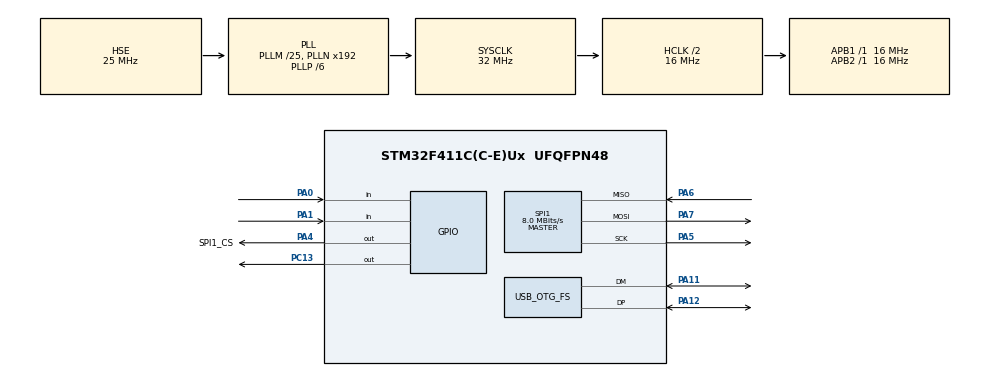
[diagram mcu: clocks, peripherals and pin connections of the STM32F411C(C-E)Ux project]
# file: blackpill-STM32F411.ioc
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FREERTOS.Tasks01=buttonTask,24,128,ButtonTask,Default,NULL,Dynamic,NULL,NULL;ledTask,24,128,LedTask,Default,NULL,Dynamic,NULL,NULL;usbTask,16,128,USBTask,Default,NULL,Dynamic,NULL,NULL;spiTask,24,128,SpiStartTask,Default,NULL,Dynamic,NULL,NULL
Mcu.Family=STM32F4
Mcu.Name=STM32F411C(C-E)Ux
Mcu.Package=UFQFPN48
NVIC.OTG_FS_IRQn=true\:5\:0\:false\:false\:true\:true\:false\:true
NVIC.PriorityGroup=NVIC_PRIORITYGROUP_4
NVIC.TIM1_UP_TIM10_IRQn=true\:0\:0\:false\:false\:true\:false\:false\:true
NVIC.TimeBase=TIM1_UP_TIM10_IRQn
NVIC.TimeBaseIP=TIM1
PA0-WKUP.GPIO_PuPd=GPIO_PULLUP
PA0-WKUP.Signal=GPIO_Input
PA1.GPIO_PuPd=GPIO_PULLDOWN
PA1.Signal=GPIO_Input
PA11.Mode=Device_Only
PA11.Signal=USB_OTG_FS_DM
PA12.Mode=Device_Only
PA12.Signal=USB_OTG_FS_DP
PA13.Mode=Serial_Wire
PA13.Signal=SYS_JTMS-SWDIO
PA14.Mode=Serial_Wire
PA14.Signal=SYS_JTCK-SWCLK
PA4.GPIO_Label=SPI1_CS
PA4.Signal=GPIO_Output
PA5.Mode=Full_Duplex_Master
PA5.Signal=SPI1_SCK
PA6.Mode=Full_Duplex_Master
PA6.Signal=SPI1_MISO
PA7.Mode=Full_Duplex_Master
PA7.Signal=SPI1_MOSI
PC13-ANTI_TAMP.GPIO_PuPd=GPIO_PULLUP
PC13-ANTI_TAMP.Signal=GPIO_Output
PC14-OSC32_IN.Mode=LSE-External-Oscillator
PC14-OSC32_IN.Signal=RCC_OSC32_IN
PC15-OSC32_OUT.Mode=LSE-External-Oscillator
PC15-OSC32_OUT.Signal=RCC_OSC32_OUT
PH0\ -\ OSC_IN.Mode=HSE-External-Oscillator
PH0\ -\ OSC_IN.Signal=RCC_OSC_IN
PH1\ -\ OSC_OUT.Mode=HSE-External-Oscillator
PH1\ -\ OSC_OUT.Signal=RCC_OSC_OUT
ProjectManager.HeapSize=0x200
ProjectManager.StackSize=0x400
ProjectManager.TargetToolchain=STM32CubeIDE
RCC.48MHZClocksFreq_Value=48000000
RCC.AHBCLKDivider=RCC_SYSCLK_DIV2
RCC.AHBFreq_Value=16000000
RCC.APB1Freq_Value=16000000
RCC.APB1TimFreq_Value=16000000
RCC.APB2Freq_Value=16000000
RCC.APB2TimFreq_Value=16000000
RCC.CortexFreq_Value=16000000
RCC.HCLKFreq_Value=16000000
RCC.HSE_VALUE=25000000
RCC.HSI_VALUE=16000000
RCC.PLLM=25
RCC.PLLP=RCC_PLLP_DIV6
RCC.SYSCLKFreq_VALUE=32000000
RCC.SYSCLKSource=RCC_SYSCLKSOURCE_PLLCLK
RCC.VCOOutputFreq_Value=192000000
SPI1.CalculateBaudRate=8.0 MBits/s
SPI1.Direction=SPI_DIRECTION_2LINES
SPI1.Mode=SPI_MODE_MASTER
SPI1.VirtualType=VM_MASTER
USB_DEVICE.CLASS_NAME_FS=CDC
USB_DEVICE.USBD_MAX_STR_DESC_SIZ=512
USB_DEVICE.USBD_SELF_POWERED=1
USB_DEVICE.VirtualMode=Cdc
USB_DEVICE.VirtualModeFS=Cdc_FS
USB_OTG_FS.VirtualMode=Device_Only
VP_FREERTOS_VS_CMSIS_V2.Mode=CMSIS_V2
VP_SYS_VS_tim1.Mode=TIM1
VP_USB_DEVICE_VS_USB_DEVICE_CDC_FS.Mode=CDC_FS
board=custom

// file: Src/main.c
/* USER CODE BEGIN Header */
/**
  ******************************************************************************
  * @file           : main.c
  * @brief          : Main program body
  ******************************************************************************
  * @attention
  *
  * <h2><center>&copy; Copyright (c) 2021 STMicroelectronics.
  * All rights reserved.</center></h2>
  *
  * This software component is licensed by ST under BSD 3-Clause license,
  * the "License"; You may not use this file except in compliance with the
  * License. You may obtain a copy of the License at:
  *                        opensource.org/licenses/BSD-3-Clause
  *
  ******************************************************************************
  */
/* USER CODE END Header */
#include "main.h"
#include "cmsis_os.h"
#include "usb_device.h"

/* USER CODE BEGIN Includes */
#include "usbd_cdc_if.h"

#include "socket.h"
#include "Internet/DHCP/dhcp.h"
#include "Internet/DNS/dns.h"
#include "uMB.h"
/* USER CODE END Includes */

/* USER CODE BEGIN PD */
#define MSG_INFO_SIZE 93
#define MSG_HELP_SIZE 97

#define TCP1_SOCKET   1
/* USER CODE END PD */

/* USER CODE BEGIN PM */
uint8_t* msgINFO;
uint8_t* msgHELP;

uint32_t t_blinking, t_blinkingMem;

uint8_t bState, bStateMem;
uint8_t usbBlinkFast, usbBlinkNorm, usbBlinkSlow;

struct uMB_request request = {
    .header = HEADER_START,
    .unitID = 10,
    .fcode = READ_HOLDING_REGISTER,
    .address = 3,
    .quantity = 9,
  };

struct uMB_response response = {
    .header = HEADER_START,
    .unitID = 10
  };

uint16_t hregisters[20] = {
    0x1234, 0x1567, 0x8910, 0x0011, 0x0022,
    0x0033, 0x0000, 0x0009, 0x0008, 0x0007,
    0x0006, 0x0005, 0x0004, 0x0003, 0x0002,
    0x0001, 0x0000, 0x0099, 0x0088, 0x0077
    };

/* USER CODE END PM */

SPI_HandleTypeDef hspi1;

/* Definitions for buttonTask */
osThreadId_t buttonTaskHandle;
const osThreadAttr_t buttonTask_attributes = {
  .name = "buttonTask",
  .priority = (osPriority_t) osPriorityNormal,
  .stack_size = 128 * 4
};
/* Definitions for ledTask */
osThreadId_t ledTaskHandle;
const osThreadAttr_t ledTask_attributes = {
  .name = "ledTask",
  .priority = (osPriority_t) osPriorityNormal,
  .stack_size = 128 * 4
};
/* Definitions for usbTask */
osThreadId_t usbTaskHandle;
const osThreadAttr_t usbTask_attributes = {
  .name = "usbTask",
  .priority = (osPriority_t) osPriorityBelowNormal,
  .stack_size = 128 * 4
};
/* Definitions for spiTask */
osThreadId_t spiTaskHandle;
const osThreadAttr_t spiTask_attributes = {
  .name = "spiTask",
  .priority = (osPriority_t) osPriorityNormal,
  .stack_size = 128 * 4
};
/* USER CODE BEGIN PV */
uint8_t DataToSend[512];    // Data to send
uint8_t RcvData[512];    // Data received
uint8_t MessageCounter = 0;    // Sent messages counter
int32_t MessageLength = 0;    // Length of the message

uint8_t ReceivedDataBuffer[512];    // Received data buffer
uint8_t ReceivedDataFlag = 0;    // Data received - flag
uint8_t tcp_sequence = 0;
/* USER CODE END PV */

void SystemClock_Config(void);
static void MX_GPIO_Init(void);
static void MX_SPI1_Init(void);
void ButtonTask(void *argument);
void LedTask(void *argument);
void USBTask(void *argument);
void SpiStartTask(void *argument);

/* USER CODE BEGIN PFP */
void W5500_Select(void);
void W5500_Unselect(void);
void W5500_ReadBuff(uint8_t* buff, uint16_t len);
void W5500_WriteBuff(uint8_t* buff, uint16_t len);
uint8_t W5500_ReadByte(void);
void W5500_WriteByte(uint8_t byte);
void initW5500(void);

/* USER CODE END PFP */

/* USER CODE BEGIN 0 */
void W5500_Select(void) {
    HAL_GPIO_WritePin(SPI1_CS_GPIO_Port, SPI1_CS_Pin, GPIO_PIN_RESET);
}

void W5500_Unselect(void) {
	HAL_GPIO_WritePin(SPI1_CS_GPIO_Port, SPI1_CS_Pin, GPIO_PIN_SET);
}

void W5500_ReadBuff(uint8_t* buff, uint16_t len) {
    HAL_SPI_Receive(&hspi1, buff, len, HAL_MAX_DELAY);
}

void W5500_WriteBuff(uint8_t* buff, uint16_t len) {
    HAL_SPI_Transmit(&hspi1, buff, len, HAL_MAX_DELAY);
}

uint8_t W5500_ReadByte(void) {
    uint8_t byte;
    W5500_ReadBuff(&byte, sizeof(byte));
    return byte;
}

void W5500_WriteByte(uint8_t byte) {
    W5500_WriteBuff(&byte, sizeof(byte));
}

volatile _Bool ip_assigned = 1;

void initW5500(void) {

		uint8_t rx_tx_buff_sizes[] = {2, 2, 2, 2, 2, 2, 2, 2};

	    wiz_NetInfo net_info = {
	        .mac  = { 0xEA, 0x11, 0x22, 0x33, 0x44, 0xEA },
			.ip = { 192, 168, 0, 10 },
			.gw = { 192, 168, 0, 1 },
			.sn = { 255, 255, 255, 0},
	        .dhcp = NETINFO_STATIC
	    };

	    wiz_NetTimeout s_nettime =
	    {
	       	.time_100us = 200,
	    	.retry_cnt = 3
	    };

	    wizchip_init(rx_tx_buff_sizes, rx_tx_buff_sizes);

	    reg_wizchip_cs_cbfunc(W5500_Select, W5500_Unselect);
	    reg_wizchip_spi_cbfunc(W5500_ReadByte, W5500_WriteByte);
	    reg_wizchip_spiburst_cbfunc(W5500_ReadBuff, W5500_WriteBuff);

	    wizchip_setnetinfo(&net_info);

	    /* Set the timeout and the maximum number of re-transmit */
	    wizchip_settimeout(&s_nettime);

}

/* USER CODE END 0 */

int main(void)
{
  /* USER CODE BEGIN 1 */
	msgINFO = (uint8_t*)"#############################\n\r# STM32F411CEU6 Blackpill   #\n\r#############################\n\r";
	msgHELP = (uint8_t*)"For led blinking control type:\n\r blink fast,\n\r blink normal,\n\r blink slow\n\nFor MCU type: info\n\r\n\r";

	t_blinkingMem = 500;
  /* USER CODE END 1 */

  /* MCU Configuration--------------------------------------------------------*/

  /* Reset of all peripherals, Initializes the Flash interface and the Systick. */
  HAL_Init();

  /* Configure the system clock */
  SystemClock_Config();

  /* Initialize all configured peripherals */
  MX_GPIO_Init();
  MX_SPI1_Init();

  /* Init scheduler */
  osKernelInitialize();

  /* Create the thread(s) */
  /* creation of buttonTask */
  buttonTaskHandle = osThreadNew(ButtonTask, NULL, &buttonTask_attributes);

  /* creation of ledTask */
  ledTaskHandle = osThreadNew(LedTask, NULL, &ledTask_attributes);

  /* creation of usbTask */
  usbTaskHandle = osThreadNew(USBTask, NULL, &usbTask_attributes);

  /* creation of spiTask */
  spiTaskHandle = osThreadNew(SpiStartTask, NULL, &spiTask_attributes);

  /* Start scheduler */
  osKernelStart();

  /* We should never get here as control is now taken by the scheduler */
  /* Infinite loop */
  /* USER CODE BEGIN WHILE */
  bState = 0;
  bStateMem = 0;
  usbBlinkFast = 0;
  usbBlinkNorm = 0;
  usbBlinkSlow = 0;
  t_blinking = 500;

  while (1)
  {
    /* USER CODE END WHILE */

  }
}

void SystemClock_Config(void)
{
  RCC_OscInitTypeDef RCC_OscInitStruct = {0};
  RCC_ClkInitTypeDef RCC_ClkInitStruct = {0};

  /** Configure the main internal regulator output voltage
  */
  __HAL_RCC_PWR_CLK_ENABLE();
  __HAL_PWR_VOLTAGESCALING_CONFIG(PWR_REGULATOR_VOLTAGE_SCALE1);
  /** Initializes the RCC Oscillators according to the specified parameters
  * in the RCC_OscInitTypeDef structure.
  */
  RCC_OscInitStruct.OscillatorType = RCC_OSCILLATORTYPE_HSE;
  RCC_OscInitStruct.HSEState = RCC_HSE_ON;
  RCC_OscInitStruct.PLL.PLLState = RCC_PLL_ON;
  RCC_OscInitStruct.PLL.PLLSource = RCC_PLLSOURCE_HSE;
  RCC_OscInitStruct.PLL.PLLM = 25;
  RCC_OscInitStruct.PLL.PLLN = 192;
  RCC_OscInitStruct.PLL.PLLP = RCC_PLLP_DIV6;
  RCC_OscInitStruct.PLL.PLLQ = 4;
  if (HAL_RCC_OscConfig(&RCC_OscInitStruct) != HAL_OK)
  {
    Error_Handler();
  }
  /** Initializes the CPU, AHB and APB buses clocks
  */
  RCC_ClkInitStruct.ClockType = RCC_CLOCKTYPE_HCLK|RCC_CLOCKTYPE_SYSCLK
                              |RCC_CLOCKTYPE_PCLK1|RCC_CLOCKTYPE_PCLK2;
  RCC_ClkInitStruct.SYSCLKSource = RCC_SYSCLKSOURCE_PLLCLK;
  RCC_ClkInitStruct.AHBCLKDivider = RCC_SYSCLK_DIV2;
  RCC_ClkInitStruct.APB1CLKDivider = RCC_HCLK_DIV1;
  RCC_ClkInitStruct.APB2CLKDivider = RCC_HCLK_DIV1;

  if (HAL_RCC_ClockConfig(&RCC_ClkInitStruct, FLASH_LATENCY_0) != HAL_OK)
  {
    Error_Handler();
  }
}

static void MX_SPI1_Init(void)
{

  /* SPI1 parameter configuration*/
  hspi1.Instance = SPI1;
  hspi1.Init.Mode = SPI_MODE_MASTER;
  hspi1.Init.Direction = SPI_DIRECTION_2LINES;
  hspi1.Init.DataSize = SPI_DATASIZE_8BIT;
  hspi1.Init.CLKPolarity = SPI_POLARITY_LOW;
  hspi1.Init.CLKPhase = SPI_PHASE_1EDGE;
  hspi1.Init.NSS = SPI_NSS_SOFT;
  hspi1.Init.BaudRatePrescaler = SPI_BAUDRATEPRESCALER_2;
  hspi1.Init.FirstBit = SPI_FIRSTBIT_MSB;
  hspi1.Init.TIMode = SPI_TIMODE_DISABLE;
  hspi1.Init.CRCCalculation = SPI_CRCCALCULATION_DISABLE;
  hspi1.Init.CRCPolynomial = 10;
  if (HAL_SPI_Init(&hspi1) != HAL_OK)
  {
    Error_Handler();
  }

}

static void MX_GPIO_Init(void)
{
  GPIO_InitTypeDef GPIO_InitStruct = {0};

  /* GPIO Ports Clock Enable */
  __HAL_RCC_GPIOC_CLK_ENABLE();
  __HAL_RCC_GPIOH_CLK_ENABLE();
  __HAL_RCC_GPIOA_CLK_ENABLE();

  /*Configure GPIO pin Output Level */
  HAL_GPIO_WritePin(GPIOC, GPIO_PIN_13, GPIO_PIN_RESET);

  /*Configure GPIO pin Output Level */
  HAL_GPIO_WritePin(SPI1_CS_GPIO_Port, SPI1_CS_Pin, GPIO_PIN_RESET);

  /*Configure GPIO pin : PC13 */
  GPIO_InitStruct.Pin = GPIO_PIN_13;
  GPIO_InitStruct.Mode = GPIO_MODE_OUTPUT_PP;
  GPIO_InitStruct.Pull = GPIO_PULLUP;
  GPIO_InitStruct.Speed = GPIO_SPEED_FREQ_LOW;
  HAL_GPIO_Init(GPIOC, &GPIO_InitStruct);

  /*Configure GPIO pin : PA0 */
  GPIO_InitStruct.Pin = GPIO_PIN_0;
  GPIO_InitStruct.Mode = GPIO_MODE_INPUT;
  GPIO_InitStruct.Pull = GPIO_PULLUP;
  HAL_GPIO_Init(GPIOA, &GPIO_InitStruct);

  /*Configure GPIO pin : PA1 */
  GPIO_InitStruct.Pin = GPIO_PIN_1;
  GPIO_InitStruct.Mode = GPIO_MODE_INPUT;
  GPIO_InitStruct.Pull = GPIO_PULLDOWN;
  HAL_GPIO_Init(GPIOA, &GPIO_InitStruct);

  /*Configure GPIO pin : SPI1_CS_Pin */
  GPIO_InitStruct.Pin = SPI1_CS_Pin;
  GPIO_InitStruct.Mode = GPIO_MODE_OUTPUT_PP;
  GPIO_InitStruct.Pull = GPIO_NOPULL;
  GPIO_InitStruct.Speed = GPIO_SPEED_FREQ_LOW;
  HAL_GPIO_Init(SPI1_CS_GPIO_Port, &GPIO_InitStruct);

}

void ButtonTask(void *argument)
{
  /* init code for USB_DEVICE */
  MX_USB_DEVICE_Init();
  /* USER CODE BEGIN 5 */
  /* Infinite loop */
  for(;;)
  {
	  if(GPIO_PIN_SET == HAL_GPIO_ReadPin(GPIOA, GPIO_PIN_0))
	  {
		  bState = 1;
		  osDelay(30);    // Simple debounce for rising edge
	  }
	  else
	  {
		  bState = 0;
	  }
    osDelay(1);
  }
  /* USER CODE END 5 */
}

void LedTask(void *argument)
{
  /* USER CODE BEGIN LedTask */
  /* Infinite loop */
  for(;;)
  {
	  // Change from Button PA0
	  if(!bState && bStateMem)
	  {
		  bStateMem = bState;
		  t_blinking = 20;
		  osDelay(30);
	  }
	  if(bState && !bStateMem)
	  {
		  bStateMem = bState;
		  t_blinking = t_blinkingMem;
		  osDelay(30);
	  }

	  // Change from USB requests
	  if(usbBlinkFast)
	  {
		  usbBlinkFast = 0;
		  t_blinking = 50;
		  t_blinkingMem = t_blinking;
	  }
	  if(usbBlinkNorm)
	  {
		  usbBlinkNorm = 0;
		  t_blinking = 500;
		  t_blinkingMem = t_blinking;
	  }
	  if(usbBlinkSlow)
	  {
		  usbBlinkSlow = 0;
		  t_blinking = 2000;
		  t_blinkingMem = t_blinking;
	  }

	  HAL_GPIO_WritePin(GPIOC, GPIO_PIN_13, GPIO_PIN_SET);
	  osDelay(t_blinking);
	  HAL_GPIO_WritePin(GPIOC, GPIO_PIN_13, GPIO_PIN_RESET);
	  osDelay(t_blinking);

  }
  /* USER CODE END LedTask */
}

void USBTask(void *argument)
{
  /* USER CODE BEGIN USBTask */
  /* Infinite loop */
  for(;;)
  {
	  // Receive data by USB
	  if(ReceivedDataFlag == 1){
		uint8_t rcv = 0;
	  	ReceivedDataFlag = 0;
	  	if(strncmp((char*)ReceivedDataBuffer, "help", 4) == 0)
	  	{
	  		rcv = 1;
	  		CDC_Transmit_FS(msgHELP, MSG_HELP_SIZE);
	  	}
	  	if(strncmp((char*)ReceivedDataBuffer, "info", 4) == 0)
	  	{
	  		rcv = 1;
	  		CDC_Transmit_FS(msgINFO, MSG_INFO_SIZE);
	    }
	  	if(strncmp((char*)ReceivedDataBuffer, "blink fast", 10) == 0)
	    {
	  		rcv = 1;
	  		usbBlinkFast = 1;
	  		CDC_Transmit_FS((uint8_t*)"Blinking set to fast speed..\n\r", (uint16_t)30);
	    }
	  	if(strncmp((char*)ReceivedDataBuffer, "blink normal", 12) == 0)
	  	{
	  		rcv = 1;
	  		usbBlinkNorm = 1;
	  		CDC_Transmit_FS((uint8_t*)"Blinking set to normal speed..\n\r", 32);
	    }
	  	if(strncmp((char*)ReceivedDataBuffer, "blink slow", 10) == 0)
	  	{
	  		rcv = 1;
	  		usbBlinkSlow = 1;
	  		CDC_Transmit_FS((uint8_t*)"Blinking set to slow speed..\n\r", 30);
	    }

	  	if(!rcv)
	  	{
	  		rcv = 1;
	  		MessageLength = sprintf((char*)DataToSend, "Got other message (type: help): %s\n\r", ReceivedDataBuffer);
	  		CDC_Transmit_FS(DataToSend, MessageLength);
	  	}
	  }
    osDelay(1);
  }
  /* USER CODE END USBTask */
}

void SpiStartTask(void *argument)
{
  /* USER CODE BEGIN SpiStartTask */
	initW5500();
	tcp_sequence = 1;
	// create a socket: TCP
	uint8_t SockNr = TCP1_SOCKET;
	uint8_t sock_buf[64];
	uint16_t sock_len = 64;
	uint8_t sock_status = 0;

	//Modbus TCP
	uMB_resp_msg_create(&response);

	sock_status = socket(SockNr, Sn_MR_TCP, 502, SF_TCP_NODELAY); //SF_TCP_NODELAY
	while(sock_status != SockNr) {
			osDelay(10);
			sock_status = socket(SockNr, Sn_MR_TCP, 502, SF_TCP_NODELAY);
		}
	tcp_sequence = 2;
	sock_status = 0;

	sock_status = listen(SockNr);
	while(sock_status != SOCK_OK) osDelay(10);
	tcp_sequence = 3;
	sock_status = 0;

	int32_t rec_len;
	uint16_t getSn, ir;
	int8_t phylink;

  /* Infinite loop */
  for(;;)
  {
	  getSn = getSn_SR(SockNr);
	  ir = Sn_IR(SockNr);
	  if(getSn == SOCK_CLOSED || getSn != SOCK_ESTABLISHED || getSn == SOCK_CLOSE_WAIT || ir == Sn_IR_TIMEOUT || sock_status == SOCKERR_TIMEOUT || phylink == PHY_LINK_OFF)
	  {
		  if(getSn == SOCK_CLOSE_WAIT || ir == Sn_IR_TIMEOUT || sock_status == SOCKERR_TIMEOUT) disconnect(SockNr);
		  close(SockNr);
		  socket(SockNr, Sn_MR_TCP, 502, SF_TCP_NODELAY);
		  tcp_sequence = 6;
	  }

	  getSn = getSn_SR(SockNr);
	  if(getSn == SOCK_INIT){
		  listen(SockNr);
		  tcp_sequence = 7;
	  }

	  rec_len = 0;
	  if ( (rec_len = getSn_RX_RSR(SockNr) ) > 0){
		  rec_len = recv(SockNr, sock_buf, sock_len);
		  tcp_sequence = 4;
	  }
	  if(rec_len > 0)
	  {
		  request.msg = sock_buf;
		  if(uMB_check_id(request.msg, &response)){
		  	    uMB_resp_parse(request.msg, &hregisters[0], &response);
		  	    //uMB_resp_msg_print(&response);
		  	  }
		  tcp_sequence = 5;
		  sock_status = send(SockNr, response.msg, response.msg_len);
		  osDelay(10);
	  }

	  phylink = wizphy_getphylink();

	  osDelay(10);
  }
  /* USER CODE END SpiStartTask */
}

 /**
  * @brief  Period elapsed callback in non blocking mode
  * @note   This function is called  when TIM1 interrupt took place, inside
  * HAL_TIM_IRQHandler(). It makes a direct call to HAL_IncTick() to increment
  * a global variable "uwTick" used as application time base.
  * @param  htim : TIM handle
  * @retval None
  */
void HAL_TIM_PeriodElapsedCallback(TIM_HandleTypeDef *htim)
{
  if (htim->Instance == TIM1) {
    HAL_IncTick();
  }
}

void Error_Handler(void)
{
}

/************************ (C) COPYRIGHT STMicroelectronics *****END OF FILE****/
